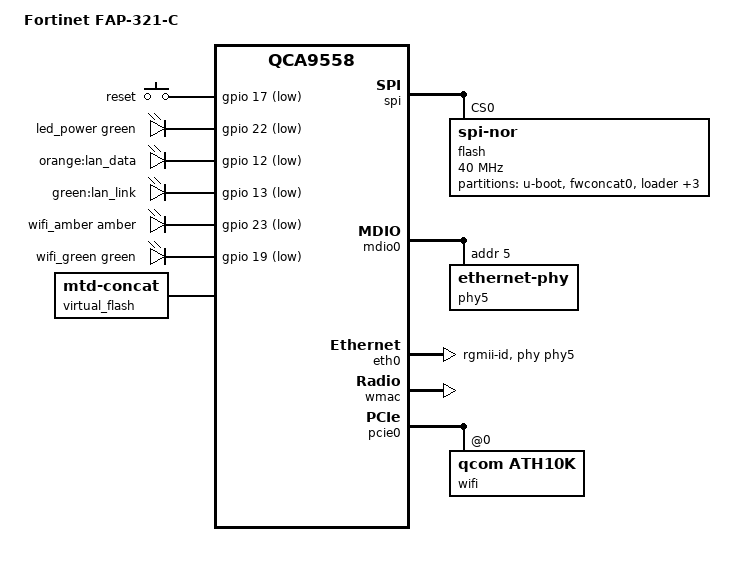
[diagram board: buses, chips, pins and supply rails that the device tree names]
// SPDX-License-Identifier: GPL-2.0-or-later OR MIT

#include "qca955x.dtsi"

#include <dt-bindings/gpio/gpio.h>
#include <dt-bindings/input/input.h>
#include <dt-bindings/leds/common.h>
#include <dt-bindings/mtd/partitions/uimage.h>

/ {
	compatible = "fortinet,fap-321-c", "qca,qca9558";
	model = "Fortinet FAP-321-C";

	aliases {
		label-mac-device = &eth0;
		led-boot = &led_power;
		led-failsafe = &led_power;
		led-running = &led_power;
		led-upgrade = &led_power;
	};

	chosen {
		bootargs = "console=ttyS0,9600";
	};

	keys {
		compatible = "gpio-keys";

		reset {
			label = "reset";
			gpios = <&gpio 17 GPIO_ACTIVE_LOW>;
			debounce-interval = <60>;
			linux,code = <KEY_RESTART>;
		};
	};

	leds {
		compatible = "gpio-leds";

		led_power: power {
			function = LED_FUNCTION_POWER;
			color = <LED_COLOR_ID_GREEN>;
			gpios = <&gpio 22 GPIO_ACTIVE_LOW>;
			default-state = "on";
		};

		lan_data {
			label = "orange:lan_data";
			gpios = <&gpio 12 GPIO_ACTIVE_LOW>;
		};

		lan_link {
			label = "green:lan_link";
			gpios = <&gpio 13 GPIO_ACTIVE_LOW>;
		};

		wifi_amber {
			function = LED_FUNCTION_WLAN_5GHZ;
			color = <LED_COLOR_ID_AMBER>;
			gpios = <&gpio 23 GPIO_ACTIVE_LOW>;
			linux,default-trigger = "phy1tpt";
		};

		wifi_green {
			function = LED_FUNCTION_WLAN_2GHZ;
			color = <LED_COLOR_ID_GREEN>;
			gpios = <&gpio 19 GPIO_ACTIVE_LOW>;
			linux,default-trigger = "phy0tpt";
		};
	};

	virtual_flash {
		compatible = "mtd-concat";

		devices = <&fwconcat0 &fwconcat1 &fwconcat2>;

		partitions {
			compatible = "fixed-partitions";
			#address-cells = <1>;
			#size-cells = <1>;

			partition@0 {
				compatible = "openwrt,uimage", "denx,uimage";
				openwrt,ih-magic = <0x73714f4b>;
				label = "firmware";
				reg = <0x0 0x0>;
			};
		};
	};
};

&spi {
	status = "okay";

	flash@0 {
		compatible = "jedec,spi-nor";
		reg = <0>;
		spi-max-frequency = <40000000>;

		partitions {
			compatible = "fixed-partitions";
			#address-cells = <1>;
			#size-cells = <1>;

			partition@0 {
				label = "u-boot";
				reg = <0x0000000 0x0040000>;
				read-only;

				nvmem-layout {
					compatible = "fixed-layout";
					#address-cells = <1>;
					#size-cells = <1>;

					macaddr_uboot_3ff80: mac-address@3ff80 {
						compatible = "mac-base";
						reg = <0x3ff80 0xc>;
						#nvmem-cell-cells = <1>;
					};
				};
			};

			/* OEM "rootfs" (0x0040000 - 0x1440000) */
			fwconcat0: partition@40000 {
				label = "fwconcat0";
				reg = <0x0040000 0x1400000>;
			};

			/* OEM "uImage" (0x1440000 - 0x1840000) */
			partition@1440000 {
				label = "loader";
				reg = <0x1440000 0x0010000>;
			};

			fwconcat1: partition@1450000 {
				label = "fwconcat1";
				reg = <0x1450000 0x03f0000>;
			};

			/* OEM crash log space */
			fwconcat2: partition@1840000 {
				label = "reserved";
				reg = <0x1840000 0x07b0000>;
			};

			art: partition@1ff0000 {
				label = "art";
				reg = <0x1ff0000 0x0010000>;
				read-only;

				nvmem-layout {
					compatible = "fixed-layout";
					#address-cells = <1>;
					#size-cells = <1>;

					calibration_wmac: calibration@1000 {
						reg = <0x1000 0x440>;
					};

					calibration_pcie: calibration@5000 {
						reg = <0x5000 0x844>;
					};
				};
			};
		};
	};
};

&mdio0 {
	status = "okay";

	phy5: ethernet-phy@5 {
		reg = <5>;
		eee-broken-100tx;
		eee-broken-1000t;
	};
};

&eth0 {
	status = "okay";

	nvmem-cells = <&macaddr_uboot_3ff80 0>;
	nvmem-cell-names = "mac-address";

	phy-handle = <&phy5>;
	phy-mode = "rgmii-id";

	pll-data = <0x82000000 0x80000101 0x80001313>;
};

&wmac {
	status = "okay";

	nvmem-cells = <&calibration_wmac>, <&macaddr_uboot_3ff80 1>;
	nvmem-cell-names = "calibration", "mac-address";
};

&pcie0 {
	status = "okay";

	wifi@0,0 {
		compatible = "qcom,ath10k";
		reg = <0x0 0 0 0 0>;
		nvmem-cells = <&calibration_pcie>, <&macaddr_uboot_3ff80 8>;
		nvmem-cell-names = "calibration", "mac-address";
	};
};

&wdt {
	status = "disabled";
};
